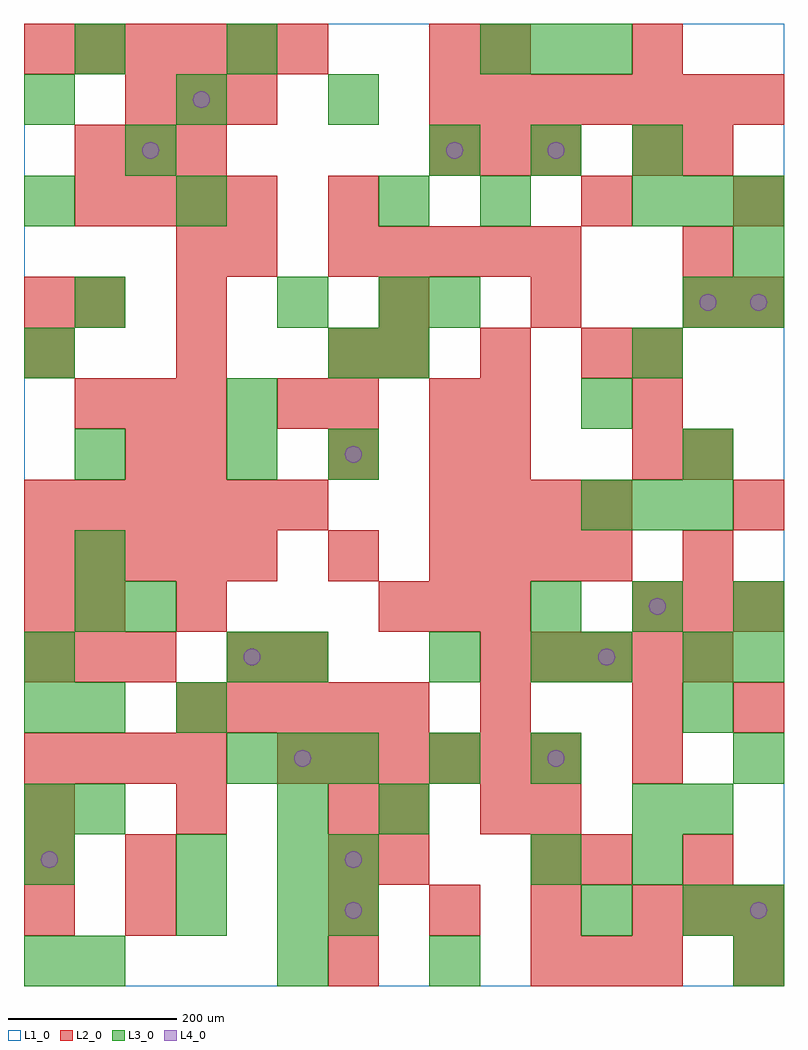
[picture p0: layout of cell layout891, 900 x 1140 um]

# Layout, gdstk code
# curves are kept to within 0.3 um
import gdstk
lib = gdstk.Library(unit=1e-6, precision=1e-09)
def R(c, l, rs):  # rectangles x0, y0, x1, y1
    for r in rs: c.add(gdstk.rectangle(r[:2], r[2:], *l))
def A(c, l, x, y, w, h, nx, ny, dx, dy):  # array of equal rectangles
    R(c, l, [(x+i*dx, y+j*dy, x+i*dx+w, y+j*dy+h) for i in range(nx) for j in range(ny)])
def P(c, l, *ps):  # polygons
    for p in ps: c.add(gdstk.Polygon(p, *l))
L1_0 = (1, 0)
L2_0 = (2, 0)
L3_0 = (3, 0)
L4_0 = (4, 0)

layout891 = lib.new_cell('layout891')
R(layout891, L1_0, [(0,0,900,1140)])
A(layout891, L2_0, 600, 0, 60, 60, 3, 1, 60, 0)
A(layout891, L2_0, 360, 60, 60, 60, 4, 1, 120, 0)
A(layout891, L2_0, 840, 60, 60, 60, 1, 4, 0, 240)
A(layout891, L2_0, 0, 180, 60, 60, 3, 2, 180, 540)
A(layout891, L2_0, 0, 240, 60, 60, 4, 1, 60, 0)
A(layout891, L2_0, 300, 240, 60, 60, 6, 1, 60, 0)
A(layout891, L2_0, 180, 300, 60, 60, 5, 1, 60, 0)
A(layout891, L2_0, 0, 360, 60, 60, 3, 1, 60, 0)
A(layout891, L2_0, 540, 360, 60, 60, 5, 1, 60, 0)
A(layout891, L2_0, 180, 420, 60, 60, 1, 3, 0, 180)
A(layout891, L2_0, 420, 420, 60, 60, 3, 1, 60, 0)
A(layout891, L2_0, 720, 420, 60, 60, 3, 1, 60, 0)
A(layout891, L2_0, 0, 480, 60, 60, 5, 1, 60, 0)
A(layout891, L2_0, 480, 480, 60, 60, 4, 2, 60, 60)
A(layout891, L2_0, 0, 540, 60, 60, 6, 2, 60, 540)
A(layout891, L2_0, 720, 600, 60, 60, 1, 3, 0, 60)
A(layout891, L2_0, 60, 660, 60, 60, 3, 2, 60, 300)
A(layout891, L2_0, 420, 720, 60, 60, 3, 1, 120, 0)
A(layout891, L2_0, 420, 780, 60, 60, 3, 1, 180, 0)
A(layout891, L2_0, 360, 840, 60, 60, 5, 1, 60, 0)
A(layout891, L2_0, 60, 900, 60, 60, 4, 1, 60, 0)
A(layout891, L2_0, 480, 960, 60, 60, 3, 1, 60, 0)
A(layout891, L2_0, 120, 1020, 60, 60, 3, 1, 60, 0)
A(layout891, L2_0, 480, 1020, 60, 60, 7, 1, 60, 0)
R(layout891, L2_0, [(360,0,420,60), (840,0,900,60), (0,60,60,120), (120,60,180,120), (780,60,840,120), (0,120,60,180), (120,120,180,180), (360,120,420,180), (420,120,480,180), (600,120,660,180), (660,120,720,180), (780,120,840,180), (420,180,480,240), (540,180,600,240), (600,180,660,240), (720,240,780,300), (540,300,600,360), (720,300,780,360), (240,360,300,420), (300,360,360,420), (0,420,60,480), (60,420,120,480), (360,480,420,540), (780,480,840,540), (120,600,180,660), (360,600,420,660), (480,600,540,660), (540,600,600,660), (780,600,840,660), (300,660,360,720), (360,660,420,720), (480,660,540,720), (540,660,600,720), (0,780,60,840), (60,780,120,840), (180,840,240,900), (240,840,300,900), (780,840,840,900), (360,900,420,960), (660,900,720,960), (840,900,900,960), (720,960,780,1020), (780,960,840,1020), (480,1080,540,1140), (540,1080,600,1140), (720,1080,780,1140)])
A(layout891, L3_0, 300, 0, 60, 60, 1, 4, 0, 60)
A(layout891, L3_0, 660, 60, 60, 60, 1, 3, 0, 300)
A(layout891, L3_0, 780, 60, 60, 60, 1, 3, 0, 120)
A(layout891, L3_0, 600, 120, 60, 60, 1, 3, 0, 120)
A(layout891, L3_0, 60, 180, 60, 60, 1, 3, 0, 120)
A(layout891, L3_0, 240, 240, 60, 60, 3, 1, 60, 0)
A(layout891, L3_0, 600, 420, 60, 60, 3, 1, 120, 0)
A(layout891, L3_0, 660, 540, 60, 60, 3, 1, 60, 0)
A(layout891, L3_0, 720, 900, 60, 60, 3, 1, 60, 0)
A(layout891, L3_0, 480, 960, 60, 60, 3, 1, 120, 0)
A(layout891, L3_0, 0, 1020, 60, 60, 3, 1, 180, 0)
A(layout891, L3_0, 540, 1080, 60, 60, 3, 1, 60, 0)
R(layout891, L3_0, [(0,0,60,60), (60,0,120,60), (480,0,540,60), (840,0,900,60), (180,60,240,120), (360,60,420,120), (840,60,900,120), (0,120,60,180), (180,120,240,180), (360,120,420,180), (720,120,780,180), (0,180,60,240), (420,180,480,240), (720,180,780,240), (480,240,540,300), (840,240,900,300), (0,300,60,360), (180,300,240,360), (0,360,60,420), (240,360,300,420), (300,360,360,420), (480,360,540,420), (780,360,840,420), (840,360,900,420), (120,420,180,480), (60,480,120,540), (60,600,120,660), (240,600,300,660), (360,600,420,660), (780,600,840,660), (240,660,300,720), (0,720,60,780), (360,720,420,780), (420,720,480,780), (720,720,780,780), (60,780,120,840), (300,780,360,840), (420,780,480,840), (480,780,540,840), (780,780,840,840), (840,780,900,840), (840,840,900,900), (0,900,60,960), (180,900,240,960), (420,900,480,960), (540,900,600,960), (120,960,180,1020), (60,1080,120,1140), (240,1080,300,1140)])
P(layout891, L4_0, [(40,150),(39.239,153.827),(37.071,157.071),(33.827,159.239),(30,160),(26.173,159.239),(22.929,157.071),(20.761,153.827),(20,150),(20.761,146.173),(22.929,142.929),(26.173,140.761),(30,140),(33.827,140.761),(37.071,142.929),(39.239,146.173)],
  [(160,990),(159.239,993.827),(157.071,997.071),(153.827,999.239),(150,1000),(146.173,999.239),(142.929,997.071),(140.761,993.827),(140,990),(140.761,986.173),(142.929,982.929),(146.173,980.761),(150,980),(153.827,980.761),(157.071,982.929),(159.239,986.173)],
  [(220,1050),(219.239,1053.827),(217.071,1057.071),(213.827,1059.239),(210,1060),(206.173,1059.239),(202.929,1057.071),(200.761,1053.827),(200,1050),(200.761,1046.173),(202.929,1042.929),(206.173,1040.761),(210,1040),(213.827,1040.761),(217.071,1042.929),(219.239,1046.173)],
  [(280,390),(279.239,393.827),(277.071,397.071),(273.827,399.239),(270,400),(266.173,399.239),(262.929,397.071),(260.761,393.827),(260,390),(260.761,386.173),(262.929,382.929),(266.173,380.761),(270,380),(273.827,380.761),(277.071,382.929),(279.239,386.173)],
  [(340,270),(339.239,273.827),(337.071,277.071),(333.827,279.239),(330,280),(326.173,279.239),(322.929,277.071),(320.761,273.827),(320,270),(320.761,266.173),(322.929,262.929),(326.173,260.761),(330,260),(333.827,260.761),(337.071,262.929),(339.239,266.173)],
  [(400,90),(399.239,93.827),(397.071,97.071),(393.827,99.239),(390,100),(386.173,99.239),(382.929,97.071),(380.761,93.827),(380,90),(380.761,86.173),(382.929,82.929),(386.173,80.761),(390,80),(393.827,80.761),(397.071,82.929),(399.239,86.173)],
  [(400,150),(399.239,153.827),(397.071,157.071),(393.827,159.239),(390,160),(386.173,159.239),(382.929,157.071),(380.761,153.827),(380,150),(380.761,146.173),(382.929,142.929),(386.173,140.761),(390,140),(393.827,140.761),(397.071,142.929),(399.239,146.173)],
  [(400,630),(399.239,633.827),(397.071,637.071),(393.827,639.239),(390,640),(386.173,639.239),(382.929,637.071),(380.761,633.827),(380,630),(380.761,626.173),(382.929,622.929),(386.173,620.761),(390,620),(393.827,620.761),(397.071,622.929),(399.239,626.173)],
  [(520,990),(519.239,993.827),(517.071,997.071),(513.827,999.239),(510,1000),(506.173,999.239),(502.929,997.071),(500.761,993.827),(500,990),(500.761,986.173),(502.929,982.929),(506.173,980.761),(510,980),(513.827,980.761),(517.071,982.929),(519.239,986.173)],
  [(640,270),(639.239,273.827),(637.071,277.071),(633.827,279.239),(630,280),(626.173,279.239),(622.929,277.071),(620.761,273.827),(620,270),(620.761,266.173),(622.929,262.929),(626.173,260.761),(630,260),(633.827,260.761),(637.071,262.929),(639.239,266.173)],
  [(640,990),(639.239,993.827),(637.071,997.071),(633.827,999.239),(630,1000),(626.173,999.239),(622.929,997.071),(620.761,993.827),(620,990),(620.761,986.173),(622.929,982.929),(626.173,980.761),(630,980),(633.827,980.761),(637.071,982.929),(639.239,986.173)],
  [(700,390),(699.239,393.827),(697.071,397.071),(693.827,399.239),(690,400),(686.173,399.239),(682.929,397.071),(680.761,393.827),(680,390),(680.761,386.173),(682.929,382.929),(686.173,380.761),(690,380),(693.827,380.761),(697.071,382.929),(699.239,386.173)],
  [(760,450),(759.239,453.827),(757.071,457.071),(753.827,459.239),(750,460),(746.173,459.239),(742.929,457.071),(740.761,453.827),(740,450),(740.761,446.173),(742.929,442.929),(746.173,440.761),(750,440),(753.827,440.761),(757.071,442.929),(759.239,446.173)],
  [(820,810),(819.239,813.827),(817.071,817.071),(813.827,819.239),(810,820),(806.173,819.239),(802.929,817.071),(800.761,813.827),(800,810),(800.761,806.173),(802.929,802.929),(806.173,800.761),(810,800),(813.827,800.761),(817.071,802.929),(819.239,806.173)],
  [(880,90),(879.239,93.827),(877.071,97.071),(873.827,99.239),(870,100),(866.173,99.239),(862.929,97.071),(860.761,93.827),(860,90),(860.761,86.173),(862.929,82.929),(866.173,80.761),(870,80),(873.827,80.761),(877.071,82.929),(879.239,86.173)],
  [(880,810),(879.239,813.827),(877.071,817.071),(873.827,819.239),(870,820),(866.173,819.239),(862.929,817.071),(860.761,813.827),(860,810),(860.761,806.173),(862.929,802.929),(866.173,800.761),(870,800),(873.827,800.761),(877.071,802.929),(879.239,806.173)])

lib.write_gds('layout891.gds')
